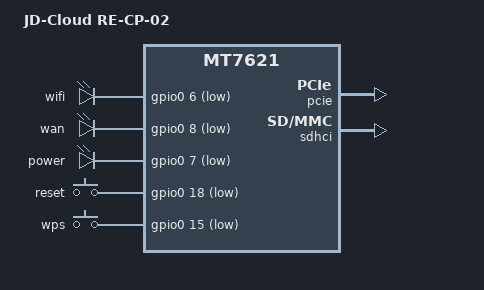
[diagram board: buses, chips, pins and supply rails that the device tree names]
/dts-v1/;

#include "mt7621.dtsi"
#include <dt-bindings/input/input.h>
#include "mt7621-spi-32m-layout.dtsi"
#include "mt7621-raeth-gmac2.dtsi"
#include "mt7621-pinctrl-default-gpio.dtsi"

/ {
	compatible = "jdcloud,re-cp-02";
	model = "JD-Cloud RE-CP-02";

	chosen {
		bootargs = "console=ttyS0,115200";
	};

	leds {
		compatible = "gpio-leds";

		sys_red {
			label = "wifi";
			gpios = <&gpio0 6 GPIO_ACTIVE_LOW>;
		};

		sys_green {
			label = "wan";
			gpios = <&gpio0 8 GPIO_ACTIVE_LOW>;
		};

		sys_blue {
			label = "power";
			gpios = <&gpio0 7 GPIO_ACTIVE_LOW>;
		};
	};

	gpio-keys-polled {
		compatible = "gpio-keys-polled";
		#address-cells = <1>;
		#size-cells = <0>;
		poll-interval = <20>;

		reset {
			label = "reset";
			gpios = <&gpio0 18 GPIO_ACTIVE_LOW>;
			linux,code = <KEY_RESTART>;
		};

		wps {
			label = "wps";
			gpios = <&gpio0 15 GPIO_ACTIVE_LOW>;
			linux,code = <KEY_WPS_BUTTON>;
		};
	};
};

&pcie {
	status = "okay";
};

&sdhci {
	status = "okay";
};
